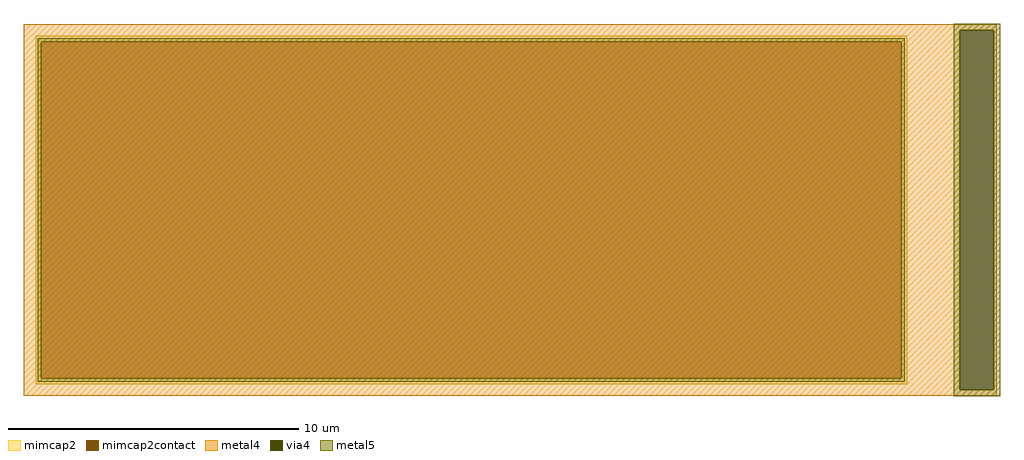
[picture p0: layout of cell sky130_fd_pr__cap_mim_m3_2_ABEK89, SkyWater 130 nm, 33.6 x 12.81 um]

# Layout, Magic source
magic
tech sky130A
magscale 1 2
<< metal4 >>
rect -3349 1239 3349 1280
rect -3349 -1239 3093 1239
rect 3329 -1239 3349 1239
rect -3349 -1280 3349 -1239
<< via4 >>
rect 3093 -1239 3329 1239
<< mimcap2 >>
rect -3269 1160 2731 1200
rect -3269 -1160 -3229 1160
rect 2691 -1160 2731 1160
rect -3269 -1200 2731 -1160
<< mimcap2contact >>
rect -3229 -1160 2691 1160
<< metal5 >>
rect 3051 1239 3371 1281
rect -3253 1160 2715 1184
rect -3253 -1160 -3229 1160
rect 2691 -1160 2715 1160
rect -3253 -1184 2715 -1160
rect 3051 -1239 3093 1239
rect 3329 -1239 3371 1239
rect 3051 -1281 3371 -1239
<< properties >>
string FIXED_BBOX -3349 -1280 2811 1280
string gencell sky130_fd_pr__cap_mim_m3_2
string library sky130
string parameters w 30 l 12 val 735.96 carea 2.00 cperi 0.19 nx 1 ny 1 dummy 0 square 0 lmin 2.00 wmin 2.00 lmax 30.0 wmax 30.0 dc 0 bconnect 1 tconnect 1 ccov 100
<< end >>
